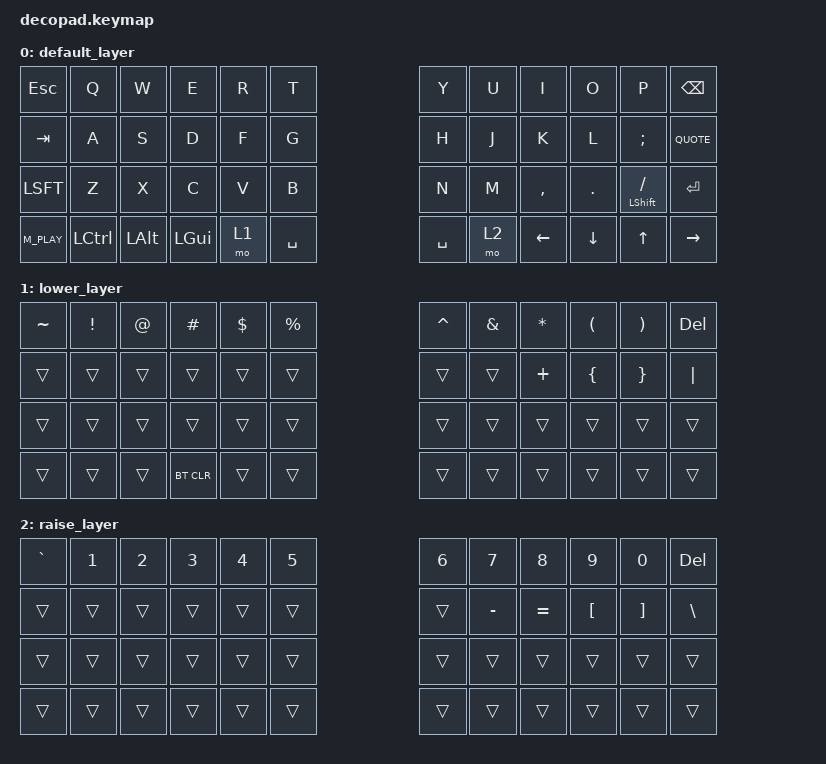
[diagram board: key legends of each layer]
/*
 * Copyright (c) 2020 The ZMK Contributors
 *
 * SPDX-License-Identifier: MIT
 */


#include <behaviors.dtsi>
#include <dt-bindings/zmk/keys.h>
#include <dt-bindings/zmk/bt.h>


/ {
	keymap {
		compatible = "zmk,keymap";

		default_layer {
// ------------------------------------------------------------------------------------------------------------
// |  TAB  |  Q  |  W  |  E   |  R   |  T   |                   |  Y   |  U    |  I    |  O   |   P   |   \   |
// |  CTRL |  A  |  S  |  D   |  F   |  G   |                   |  H   |  J    |  K    |  L   |   ;   |   '   |
// | SHIFT |  Z  |  X  |  C   |  V   |  B   |                   |  N   |  M    |  ,    |  .   |   /   | SHIFT |
// | LCTL  | LGUI  | LALT |  GRAV |  | EQL | DEL | BKSP|  | RET | SPC  | LBKT |  RBKT  | LBKT | HOME  |   END |
			bindings = <
&kp ESC  &kp Q     &kp W     &kp E     &kp R     &kp T                        &kp Y     &kp U     &kp I     &kp O     &kp P     &kp BKSP
&kp TAB  &kp A     &kp S     &kp D     &kp F     &kp G                        &kp H     &kp J     &kp K     &kp L     &kp SEMICOLON  &kp QUOTE
&kp LSFT &kp Z     &kp X     &kp C     &kp V     &kp B                        &kp N     &kp M     &kp COMMA  &kp PERIOD   &mt LEFT_SHIFT SLASH  &kp RETURN
&kp M_PLAY &kp LCTL &kp LALT &kp LGUI  &mo 1     &kp SPC                      &kp SPC   &mo 2     &kp LEFT_ARROW  &kp DOWN_ARROW  &kp UP_ARROW  &kp RIGHT_ARROW
			>;
		};
		lower_layer {
			bindings = <
&kp TILDE   &kp EXCLAMATION     &kp AT     &kp HASH     &kp DOLLAR     &kp PERCENT                     &kp CARET  &kp AMPERSAND  &kp ASTERISK  &kp LEFT_PARENTHESIS  &kp RIGHT_PARENTHESIS  &kp DELETE
&trans    &trans    &trans    &trans    &trans    &trans                                    &trans    &trans &kp PLUS  &kp LEFT_BRACE  &kp RIGHT_BRACE  &kp PIPE
&trans    &trans    &trans    &trans    &trans    &trans                                    &trans   &trans   &trans    &trans    &trans    &trans
&trans    &trans    &trans    &bt BT_CLR  &trans  &trans                                    &trans   &trans   &trans    &trans    &trans    &trans    
			>;
		};

		raise_layer {
			bindings = <
&kp GRAVE &kp NUMBER_1 &kp NUMBER_2 &kp NUMBER_3 &kp NUMBER_4 &kp NUMBER_5                  &kp NUMBER_6 &kp NUMBER_7 &kp NUMBER_8 &kp NUMBER_9 &kp NUMBER_0 &kp DELETE
&trans   &trans   &trans    &trans    &trans    &trans                      &trans    &kp MINUS &kp EQUAL   &kp LEFT_BRACKET  &kp RIGHT_BRACKET  &kp BACKSLASH
&trans   &trans   &trans    &trans    &trans    &trans       			    &trans    &trans   &trans    &trans    &trans    &trans
&trans   &trans   &trans    &trans    &trans    &trans                      &trans    &trans   &trans    &trans    &trans    &trans
			>;
		};
	};
};
